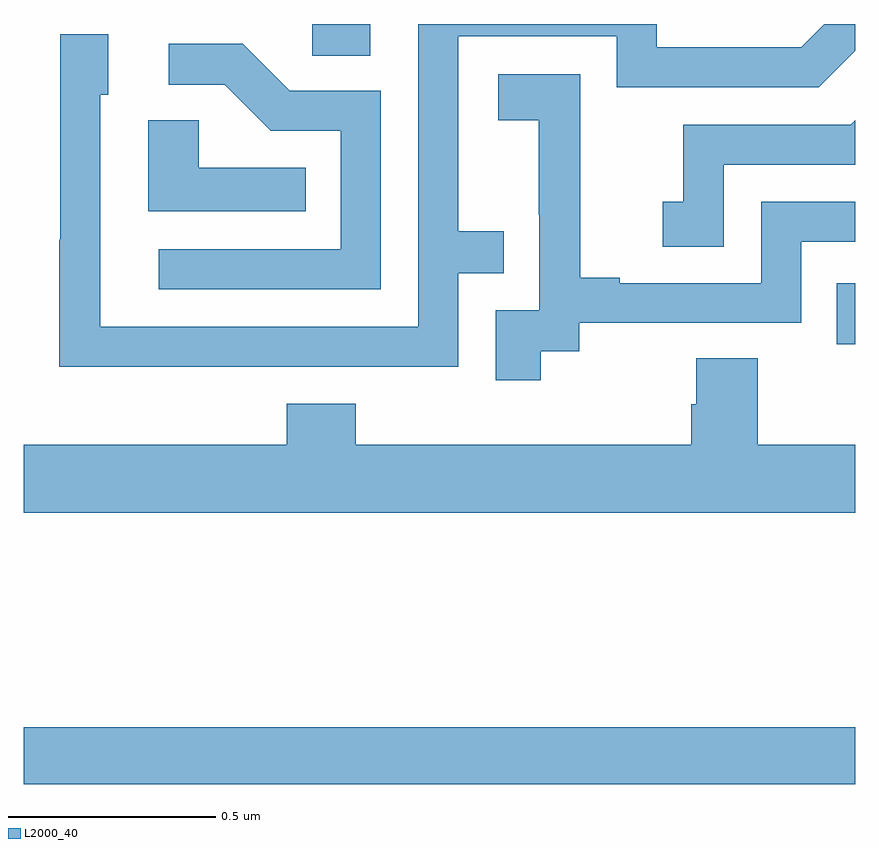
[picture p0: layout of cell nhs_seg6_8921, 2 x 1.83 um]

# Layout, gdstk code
import gdstk
lib = gdstk.Library(unit=1e-6, precision=1e-09)
def R(c, l, rs):  # rectangles x0, y0, x1, y1
    for r in rs: c.add(gdstk.rectangle(r[:2], r[2:], *l))
def P(c, l, *ps):  # polygons
    for p in ps: c.add(gdstk.Polygon(p, *l))
L2000_40 = (2000, 40)

nhs_seg6_8921 = lib.new_cell('nhs_seg6_8921')
R(nhs_seg6_8921, L2000_40, [(227,958.672,229,958.808), (228.955,959.73,229,959.877), (227.694,960.424,227.833,960.5)])
P(nhs_seg6_8921, L2000_40, [(227.549,959.676),(228.045,959.676),(228.045,959.901),(228.155,959.901),(228.155,960.002),(228.045,960.002),(228.045,960.471),(228.426,960.471),(228.426,960.348),(228.912,960.348),(229,960.436),(229,960.5),(228.926,960.5),(228.87,960.444),(228.523,960.444),(228.523,960.5),(227.949,960.5),(227.949,959.772),(227.184,959.772),(227.184,960.33),(227.203,960.33),(227.203,960.475),(227.088,960.475),(227.088,959.981),(227.086,959.981),(227.086,959.675),(227.549,959.675)],
  [(227.859,960.339),(227.64,960.339),(227.527,960.452),(227.349,960.452),(227.349,960.354),(227.483,960.354),(227.594,960.243),(227.763,960.243),(227.763,959.958),(227.325,959.958),(227.325,959.862),(227.859,959.862)],
  [(228.244,959.713),(228.336,959.713),(228.336,959.781),(228.87,959.781),(228.87,959.976),(229,959.976),(229,960.072),(228.774,960.072),(228.774,959.877),(228.433,959.877),(228.433,959.89),(228.338,959.89),(228.338,960.173),(228.339,960.173),(228.339,960.379),(228.141,960.379),(228.141,960.269),(228.239,960.269),(228.239,960.041),(228.24,960.041),(228.24,959.811),(228.135,959.811),(228.135,959.643),(228.244,959.643)],
  [(227.678,960.154),(227.421,960.154),(227.421,960.269),(227.3,960.269),(227.3,960.05),(227.678,960.05)],
  [(228.684,960.162),(229,960.162),(229,960.269),(228.989,960.258),(228.586,960.258),(228.586,960.073),(228.537,960.073),(228.537,959.964),(228.684,959.964)],
  [(229,959.488),(228.765,959.488),(228.765,959.696),(228.617,959.696),(228.617,959.586),(228.605,959.586),(228.605,959.488),(227.798,959.488),(227.798,959.587),(227.633,959.587),(227.633,959.488),(227,959.488),(227,959.324),(229,959.324)])

lib.write_gds('nhs_seg6_8921.gds')
